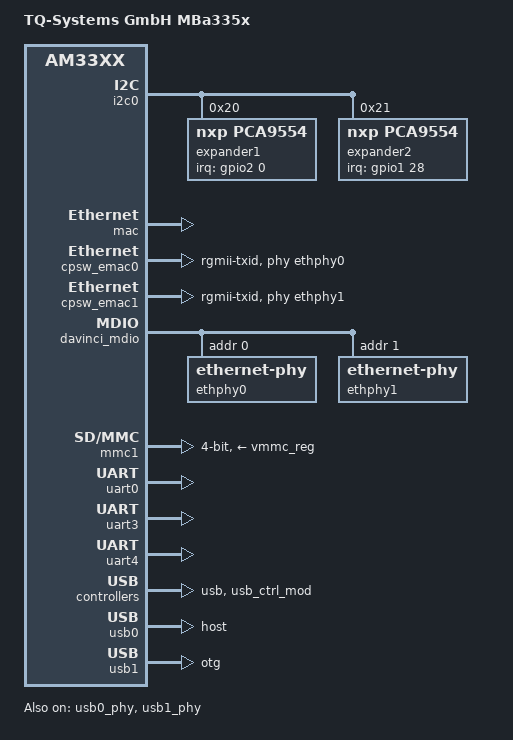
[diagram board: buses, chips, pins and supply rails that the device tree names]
// SPDX-License-Identifier: GPL-2.0-or-later OR MIT
/*
 * Copyright (C) 2021 TQ-Systems GmbH - https://www.tq-group.com/
 *
 * Based on:
 * Copyright (C) 2012 Texas Instruments Incorporated - http://www.ti.com/
 *
 * This program is free software; you can redistribute it and/or modify
 * it under the terms of the GNU General Public License version 2 as
 * published by the Free Software Foundation.
 */
/dts-v1/;

#include "am335x-tqma335x.dtsi"
#include <dt-bindings/interrupt-controller/irq.h>

/ {
	model = "TQ-Systems GmbH MBa335x";
	compatible = "tq,mba335x", "tq,tqma335x", "ti,am33xx";

	chosen {
		stdout-path = &uart4;
	};
};

&am33xx_pinmux {
	davinci_mdio_default: davinci_mdio_default {
		pinctrl-single,pins = <
			/* MDIO */
			0x148 (PIN_INPUT_PULLUP | SLEWCTRL_FAST | MUX_MODE0)	/* mdio_data.mdio_data */
			0x14c (PIN_OUTPUT_PULLUP | MUX_MODE0)		/* mdio_clk.mdio_clk */
		>;
	};

	expander1_pins: pinmux_expander1_pins {
		pinctrl-single,pins = <
			/* Interrupt */
			0x88 (PIN_INPUT_PULLUP | MUX_MODE7 )            /* gpmc_csn3.gpio2_0 */
		>;
	};

	expander2_pins: pinmux_expander2_pins {
		pinctrl-single,pins = <
			/* Interrupt */
			0x78 (PIN_INPUT_PULLUP | MUX_MODE7)             /* gpmc_ben1.gpio1_28 */
		>;
	};

	mmc1_pins: mmc1_pins {
		pinctrl-single,pins = <
			0x0f0 (PIN_INPUT_PULLUP | MUX_MODE0)		/* mmc0_dat3.mmc0_dat3 */
			0x0f4 (PIN_INPUT_PULLUP | MUX_MODE0)		/* mmc0_dat2.mmc0_dat2 */
			0x0f8 (PIN_INPUT_PULLUP | MUX_MODE0)		/* mmc0_dat1.mmc0_dat1 */
			0x0fc (PIN_INPUT_PULLUP | MUX_MODE0)		/* mmc0_dat0.mmc0_dat0 */
			0x100 (PIN_INPUT_PULLUP | MUX_MODE0)		/* mmc0_clk.mmc0_clk */
			0x104 (PIN_INPUT_PULLUP | MUX_MODE0)		/* mmc0_cmd.mmc0_cmd */
		>;
	};

	uart0_pins: pinmux_uart0_pins {
		pinctrl-single,pins = <
			0x170 (PIN_INPUT_PULLUP | MUX_MODE0)		/* uart0_rxd.uart0_rxd */
			0x174 (PIN_OUTPUT_PULLDOWN | MUX_MODE0)		/* uart0_txd.uart0_txd */
		>;
	};

	uart3_pins: pinmux_uart3_pins {
		pinctrl-single,pins = <
			0x160 (PIN_INPUT_PULLUP | MUX_MODE1)		/* spi0_cs1.uart3_rxd */
			0x164 (PIN_OUTPUT_PULLDOWN | MUX_MODE1)		/* ecap0_in_pwm0_out.uart3_txd */
		>;
	};

	uart4_pins: pinmux_uart4_pins {
		pinctrl-single,pins = <
			0x70 (PIN_INPUT_PULLUP | MUX_MODE6)		/* gpmc_wait0.uart4_rxd */
			0x74 (PIN_OUTPUT_PULLDOWN | MUX_MODE6)		/* gpmc_wpn.uart4_txd */
		>;
	};
};

&i2c0 {
	expander1: gpio-expander@20 {
		compatible = "nxp,pca9554";
		reg = <0x20>;
		pinctrl-names = "default";
		pinctrl-0 = <&expander1_pins>;
		gpio-controller;
		#gpio-cells = <2>;
		interrupt-parent = <&gpio2>;
		interrupts = <0 IRQ_TYPE_EDGE_FALLING>;
	};

	expander2: gpio-expander@21 {
		compatible = "nxp,pca9554";
		reg = <0x21>;
		pinctrl-names = "default";
		pinctrl-0 = <&expander2_pins>;
		gpio-controller;
		#gpio-cells = <2>;
		interrupt-parent = <&gpio1>;
		interrupts = <28 IRQ_TYPE_EDGE_FALLING>;
	};
};

&mac {
	status = "okay";
};

&cpsw_emac0 {
	phy-handle = <&ethphy0>;
	phy-mode = "rgmii-txid";

	interrupt-parent = <&gpio0>;
	interrupts = <18 0>;
};

&cpsw_emac1 {
	phy-handle = <&ethphy1>;
	phy-mode = "rgmii-txid";

	interrupt-parent = <&gpio1>;
	interrupts = <29 0>;
};

&davinci_mdio {
	pinctrl-names = "default";
	pinctrl-0 = <&davinci_mdio_default>;
	status = "okay";

	ethphy0: ethernet-phy@0 {
		reg = <0>;

		rxdv-skew-ps = <0>;
		txen-skew-ps = <0>;
		rxd0-skew-ps = <0>;
		rxd1-skew-ps = <0>;
		rxd2-skew-ps = <0>;
		rxd3-skew-ps = <0>;
		txd0-skew-ps = <0>;
		txd1-skew-ps = <0>;
		txd2-skew-ps = <0>;
		txd3-skew-ps = <0>;
		rxc-skew-ps = <1860>;
		txc-skew-ps = <1860>;
	};

	ethphy1: ethernet-phy@1 {
		reg = <1>;

		rxdv-skew-ps = <0>;
		txen-skew-ps = <0>;
		rxd0-skew-ps = <0>;
		rxd1-skew-ps = <0>;
		rxd2-skew-ps = <0>;
		rxd3-skew-ps = <0>;
		txd0-skew-ps = <0>;
		txd1-skew-ps = <0>;
		txd2-skew-ps = <0>;
		txd3-skew-ps = <0>;
		rxc-skew-ps = <1860>;
		txc-skew-ps = <1860>;
	};
};

&mmc1 {
	pinctrl-names = "default";
	pinctrl-0 = <&mmc1_pins>;
	status = "okay";
	vmmc-supply = <&vmmc_reg>;
	bus-width = <4>;
};

&uart0 {
	pinctrl-names = "default";
	pinctrl-0 = <&uart0_pins>;
	status = "okay";
};

&uart3 {
	pinctrl-names = "default";
	pinctrl-0 = <&uart3_pins>;
	status = "okay";
};

&uart4 {
	pinctrl-names = "default";
	pinctrl-0 = <&uart4_pins>;
	status = "okay";
};

&usb {
	status = "okay";
};

&usb_ctrl_mod {
	status = "okay";
};

&usb0_phy {
	status = "okay";
};

&usb1_phy {
	status = "okay";
};

&usb0 {
	status = "okay";
	dr_mode = "host";
};

&usb1 {
	status = "okay";
	dr_mode = "otg";
};
